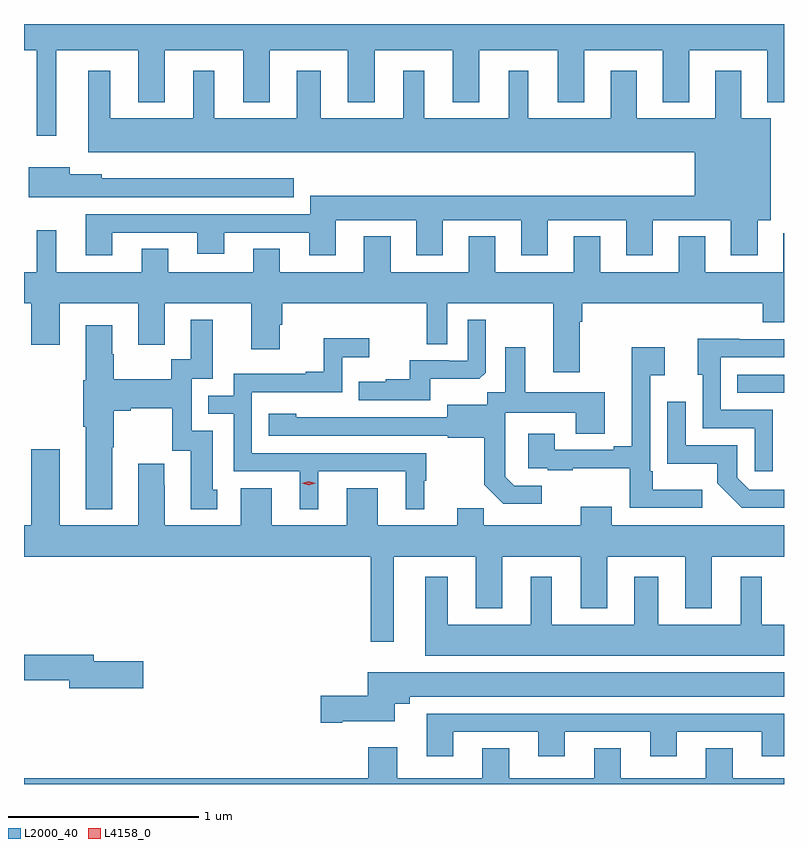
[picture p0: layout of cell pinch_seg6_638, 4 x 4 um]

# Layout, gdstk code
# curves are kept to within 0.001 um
import gdstk
lib = gdstk.Library(unit=1e-6, precision=1e-09)
def R(c, l, rs):  # rectangles x0, y0, x1, y1
    for r in rs: c.add(gdstk.rectangle(r[:2], r[2:], *l))
def P(c, l, *ps):  # polygons
    for p in ps: c.add(gdstk.Polygon(p, *l))
L2000_40 = (2000, 40)
L4158_0 = (4158, 0)

pinch_seg6_638 = lib.new_cell('pinch_seg6_638')
R(pinch_seg6_638, L2000_40, [(420.829,946.866,421.076,946.962)])
P(pinch_seg6_638, L2000_40, [(417.247,948.668),(417.677,948.668),(417.677,948.395),(417.817,948.395),(417.817,948.668),(418.229,948.668),(418.229,948.395),(418.369,948.395),(418.369,948.668),(418.781,948.668),(418.781,948.395),(418.921,948.395),(418.921,948.668),(419.333,948.668),(419.333,948.395),(419.473,948.395),(419.473,948.668),(419.885,948.668),(419.885,948.395),(420.025,948.395),(420.025,948.668),(420.437,948.668),(420.437,948.395),(420.577,948.395),(420.577,948.668),(420.989,948.668),(420.989,948.395),(421.076,948.395),(421.076,948.807),(417.076,948.807),(417.076,948.668),(417.143,948.668),(417.143,948.219),(417.247,948.219)],
  [(417.541,947.709),(417.989,947.709),(417.989,947.597),(418.129,947.597),(418.129,947.709),(418.577,947.709),(418.577,947.589),(418.717,947.589),(418.717,947.774),(419.141,947.774),(419.141,947.589),(419.281,947.589),(419.281,947.774),(419.693,947.774),(419.693,947.589),(419.833,947.589),(419.833,947.774),(420.245,947.774),(420.245,947.589),(420.385,947.589),(420.385,947.774),(420.797,947.774),(420.797,947.589),(420.937,947.589),(420.937,947.774),(421.006,947.774),(421.006,948.31),(420.85,948.31),(420.85,948.562),(420.713,948.562),(420.713,948.31),(420.301,948.31),(420.301,948.562),(420.164,948.562),(420.164,948.31),(419.731,948.31),(419.731,948.562),(419.627,948.562),(419.627,948.31),(419.182,948.31),(419.182,948.562),(419.072,948.562),(419.072,948.31),(418.639,948.31),(418.639,948.562),(418.511,948.562),(418.511,948.31),(418.078,948.31),(418.078,948.562),(417.968,948.562),(417.968,948.31),(417.529,948.31),(417.529,948.562),(417.413,948.562),(417.413,948.131),(420.605,948.131),(420.605,947.902),(418.583,947.902),(418.583,947.805),(417.401,947.805),(417.401,947.589),(417.541,947.589)],
  [(418.495,947.995),(417.486,947.995),(417.486,948.016),(417.316,948.016),(417.316,948.052),(417.102,948.052),(417.102,947.894),(418.495,947.894)],
  [(420.001,947.24),(420.014,947.24),(420.014,947.336),(420.965,947.336),(420.965,947.237),(421.076,947.237),(421.076,947.707),(421.073,947.707),(421.073,947.5),(420.661,947.5),(420.661,947.689),(420.521,947.689),(420.521,947.5),(420.109,947.5),(420.109,947.689),(419.969,947.689),(419.969,947.5),(419.557,947.5),(419.557,947.689),(419.417,947.689),(419.417,947.5),(419.005,947.5),(419.005,947.689),(418.865,947.689),(418.865,947.5),(418.423,947.5),(418.423,947.624),(418.283,947.624),(418.283,947.5),(417.835,947.5),(417.835,947.624),(417.695,947.624),(417.695,947.5),(417.247,947.5),(417.247,947.722),(417.143,947.722),(417.143,947.5),(417.076,947.5),(417.076,947.336),(417.113,947.336),(417.113,947.118),(417.265,947.118),(417.265,947.336),(417.677,947.336),(417.677,947.118),(417.817,947.118),(417.817,947.336),(418.271,947.336),(418.271,947.094),(418.423,947.094),(418.423,947.223),(418.436,947.223),(418.436,947.336),(419.196,947.336),(419.196,947.122),(419.304,947.122),(419.304,947.336),(419.861,947.336),(419.861,946.974),(420.001,946.974)],
  [(417.541,946.579),(417.549,946.579),(417.549,946.772),(417.637,946.772),(417.637,946.784),(417.857,946.784),(417.857,946.56),(417.953,946.56),(417.953,946.254),(418.093,946.254),(418.093,946.356),(418.069,946.356),(418.069,946.665),(417.96,946.665),(417.96,946.941),(418.069,946.941),(418.069,947.251),(417.953,947.251),(417.953,947.042),(417.852,947.042),(417.852,946.936),(417.549,946.936),(417.549,947.07),(417.541,947.07),(417.541,947.221),(417.401,947.221),(417.401,946.932),(417.389,946.932),(417.389,946.688),(417.401,946.688),(417.401,946.253),(417.541,946.253)],
  [(419.215,946.94),(419.473,946.94),(419.505,946.971),(419.505,947.251),(419.412,947.251),(419.412,947.034),(419.312,947.034),(419.312,947.037),(419.105,947.037),(419.105,946.936),(418.981,946.936),(418.981,946.924),(418.837,946.924),(418.837,946.827),(419.215,946.827)],
  [(418.624,946.452),(419.084,946.452),(419.084,946.253),(419.182,946.253),(419.182,946.404),(419.194,946.404),(419.194,946.548),(418.275,946.548),(418.275,946.869),(418.752,946.869),(418.752,947.054),(418.894,947.054),(418.894,947.153),(418.654,947.153),(418.654,946.978),(418.559,946.978),(418.559,946.965),(418.179,946.965),(418.179,946.851),(418.045,946.851),(418.045,946.755),(418.179,946.755),(418.179,946.452),(418.526,946.452),(418.526,946.253),(418.624,946.253)],
  [(421.017,946.776),(420.744,946.776),(420.744,947.052),(421.076,947.052),(421.076,947.148),(420.841,947.148),(420.841,947.15),(420.623,947.15),(420.623,946.962),(420.648,946.962),(420.648,946.68),(420.921,946.68),(420.921,946.452),(421.017,946.452)],
  [(420.646,946.357),(420.385,946.357),(420.385,946.453),(420.372,946.453),(420.372,946.958),(420.448,946.958),(420.448,947.107),(420.275,947.107),(420.275,946.585),(420.179,946.585),(420.179,946.566),(419.869,946.566),(419.869,946.651),(419.729,946.651),(419.729,946.47),(419.833,946.47),(419.833,946.458),(419.965,946.458),(419.965,946.469),(420.264,946.469),(420.264,946.26),(420.646,946.26)],
  [(419.8,946.377),(419.655,946.377),(419.608,946.424),(419.608,946.519),(419.61,946.519),(419.61,946.76),(419.981,946.76),(419.981,946.651),(420.133,946.651),(420.133,946.87),(419.713,946.87),(419.713,947.107),(419.609,947.107),(419.609,946.868),(419.514,946.868),(419.514,946.804),(419.303,946.804),(419.303,946.737),(418.509,946.738),(418.509,946.756),(418.365,946.756),(418.365,946.641),(419.307,946.641),(419.307,946.629),(419.499,946.629),(419.499,946.383),(419.599,946.283),(419.8,946.283)],
  [(421.076,946.356),(420.894,946.356),(420.831,946.419),(420.831,946.59),(420.558,946.59),(420.558,946.819),(420.462,946.819),(420.462,946.493),(420.724,946.493),(420.724,946.391),(420.854,946.26),(421.076,946.26)],
  [(419.023,946.004),(419.453,946.004),(419.453,945.731),(419.593,945.731),(419.593,946.004),(420.005,946.004),(420.005,945.731),(420.145,945.731),(420.145,946.004),(420.557,946.004),(420.557,945.731),(420.697,945.731),(420.697,946.004),(421.076,946.004),(421.076,946.168),(420.169,946.168),(420.169,946.267),(420.005,946.267),(420.005,946.168),(419.495,946.168),(419.495,946.259),(419.357,946.259),(419.357,946.168),(418.939,946.168),(418.939,946.363),(418.775,946.363),(418.775,946.168),(418.381,946.168),(418.381,946.363),(418.217,946.363),(418.217,946.168),(417.817,946.168),(417.817,946.379),(417.814,946.379),(417.814,946.492),(417.677,946.492),(417.677,946.168),(417.265,946.168),(417.265,946.57),(417.113,946.57),(417.113,946.168),(417.076,946.168),(417.076,946.004),(418.902,946.004),(418.902,945.555),(419.023,945.555)],
  [(421.076,945.646),(420.958,945.646),(420.958,945.898),(420.848,945.898),(420.848,945.646),(420.415,945.646),(420.415,945.898),(420.287,945.898),(420.287,945.646),(419.854,945.646),(419.854,945.898),(419.744,945.898),(419.744,945.646),(419.305,945.646),(419.305,945.898),(419.189,945.898),(419.189,945.482),(421.076,945.482)],
  [(417.703,945.452),(417.442,945.452),(417.442,945.488),(417.076,945.488),(417.076,945.352),(417.314,945.352),(417.314,945.31),(417.703,945.31)],
  [(418.75,945.137),(419.026,945.137),(419.026,945.23),(419.107,945.23),(419.107,945.266),(421.076,945.266),(421.076,945.394),(418.886,945.394),(418.886,945.272),(418.638,945.272),(418.638,945.13),(418.75,945.13)],
  [(419.335,945.081),(419.783,945.081),(419.783,944.952),(419.923,944.952),(419.923,945.081),(420.371,945.081),(420.371,944.952),(420.511,944.952),(420.511,945.081),(420.959,945.081),(420.959,944.952),(421.076,944.952),(421.076,945.177),(419.195,945.177),(419.195,944.952),(419.335,944.952)],
  [(421.076,944.836),(420.805,944.836),(420.805,944.996),(420.665,944.996),(420.665,944.836),(420.217,944.836),(420.217,944.996),(420.077,944.996),(420.077,944.836),(419.629,944.836),(419.629,944.996),(419.489,944.996),(419.489,944.836),(419.041,944.836),(419.041,945.001),(418.889,945.001),(418.889,944.836),(417.076,944.836),(417.076,944.807),(421.076,944.807)])
P(pinch_seg6_638, L4158_0, [(418.575,946.38),(418.539,946.389),(418.539,946.39),(418.539,946.39),(418.575,946.4),(418.611,946.39),(418.611,946.39),(418.611,946.389)])

lib.write_gds('pinch_seg6_638.gds')
